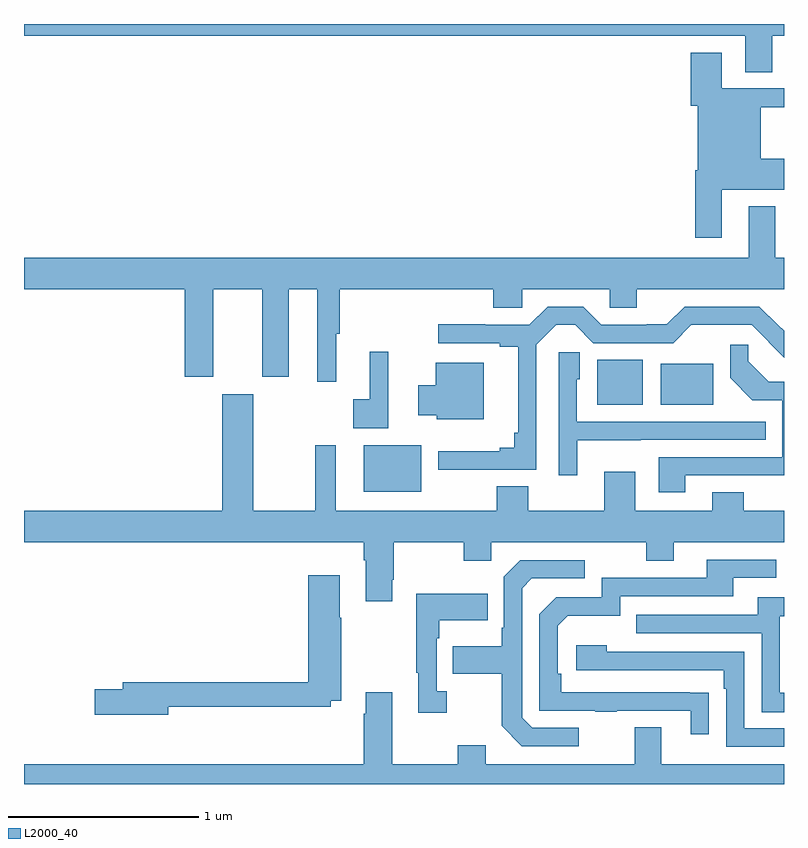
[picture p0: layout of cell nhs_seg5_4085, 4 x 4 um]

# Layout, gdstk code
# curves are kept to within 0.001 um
import gdstk
lib = gdstk.Library(unit=1e-6, precision=1e-09)
def R(c, l, rs):  # rectangles x0, y0, x1, y1
    for r in rs: c.add(gdstk.rectangle(r[:2], r[2:], *l))
def P(c, l, *ps):  # polygons
    for p in ps: c.add(gdstk.Polygon(p, *l))
L2000_40 = (2000, 40)

nhs_seg5_4085 = lib.new_cell('nhs_seg5_4085')
R(nhs_seg5_4085, L2000_40, [(352.787,878.336,353.092,878.581), (354.017,878.795,354.256,879.031), (354.35,878.795,354.628,879.01)])
P(nhs_seg5_4085, L2000_40, [(354.937,880.736),(355,880.736),(355,880.799),(351,880.799),(351,880.736),(354.797,880.736),(354.797,880.546),(354.937,880.546)],
  [(354.673,879.926),(355,879.926),(355,880.09),(354.877,880.09),(354.877,880.36),(355,880.36),(355,880.461),(354.673,880.461),(354.673,880.648),(354.509,880.648),(354.509,880.368),(354.545,880.368),(354.545,880.03),(354.533,880.03),(354.533,879.675),(354.673,879.675)],
  [(352.643,879.168),(352.661,879.168),(352.661,879.404),(353.471,879.404),(353.471,879.306),(353.622,879.306),(353.622,879.404),(354.084,879.404),(354.084,879.306),(354.226,879.306),(354.226,879.404),(355,879.404),(355,879.568),(354.955,879.568),(354.955,879.841),(354.815,879.841),(354.815,879.568),(351,879.568),(351,879.404),(351.845,879.404),(351.845,878.943),(351.997,878.943),(351.997,879.404),(352.253,879.404),(352.253,878.943),(352.393,878.943),(352.393,879.404),(352.544,879.404),(352.544,878.916),(352.643,878.916)],
  [(353.393,878.454),(353.697,878.454),(353.697,879.111),(353.801,879.215),(353.902,879.215),(353.997,879.12),(354.417,879.12),(354.512,879.215),(354.831,879.216),(354.921,879.126),(354.919,879.124),(355,879.043),(355,879.185),(354.968,879.217),(354.967,879.216),(354.871,879.312),(354.477,879.312),(354.383,879.218),(354.278,879.218),(354.278,879.216),(354.039,879.216),(353.943,879.312),(353.756,879.312),(353.66,879.216),(353.427,879.216),(353.427,879.218),(353.181,879.218),(353.181,879.12),(353.504,879.12),(353.504,879.1),(353.6,879.1),(353.6,878.647),(353.581,878.647),(353.581,878.57),(353.504,878.57),(353.504,878.551),(353.181,878.551),(353.181,878.453)],
  [(354.481,878.424),(355,878.423),(355,878.916),(354.92,878.916),(354.812,879.024),(354.812,879.112),(354.717,879.112),(354.717,878.936),(354.833,878.82),(354.99,878.82),(354.99,878.52),(354.341,878.52),(354.341,878.334),(354.481,878.334)],
  [(352.918,879.073),(352.82,879.073),(352.82,878.825),(352.734,878.825),(352.734,878.672),(352.918,878.672)],
  [(353.911,878.609),(354.245,878.609),(354.245,878.61),(354.905,878.61),(354.905,878.706),(353.91,878.706),(353.91,878.928),(353.926,878.928),(353.926,879.071),(353.814,879.071),(353.814,878.424),(353.911,878.424)],
  [(353.419,879.016),(353.168,879.016),(353.168,878.899),(353.075,878.899),(353.075,878.741),(353.172,878.741),(353.172,878.72),(353.419,878.72)],
  [(352.939,877.873),(352.947,877.873),(352.947,878.072),(353.314,878.072),(353.314,877.973),(353.46,877.973),(353.46,878.072),(354.274,878.072),(354.274,877.973),(354.421,877.973),(354.421,878.072),(355,878.072),(355,878.236),(354.787,878.236),(354.787,878.335),(354.623,878.335),(354.623,878.236),(354.217,878.236),(354.217,878.443),(354.053,878.443),(354.053,878.236),(353.653,878.236),(353.653,878.365),(353.489,878.365),(353.489,878.236),(352.642,878.236),(352.642,878.581),(352.533,878.581),(352.533,878.236),(352.207,878.236),(352.207,878.851),(352.043,878.851),(352.043,878.236),(351,878.236),(351,878.072),(352.787,878.072),(352.787,877.976),(352.799,877.976),(352.799,877.761),(352.939,877.761)],
  [(354.605,877.28),(353.828,877.281),(353.828,877.378),(353.808,877.378),(353.808,877.632),(353.861,877.685),(354.138,877.685),(354.138,877.788),(354.733,877.788),(354.733,877.884),(354.958,877.884),(354.958,877.98),(354.593,877.98),(354.593,877.884),(354.042,877.884),(354.042,877.782),(353.802,877.782),(353.712,877.692),(353.712,877.185),(354.007,877.185),(354.007,877.18),(354.119,877.18),(354.119,877.185),(354.509,877.185),(354.509,877.062),(354.605,877.062)],
  [(353.92,877.095),(353.676,877.095),(353.622,877.149),(353.622,877.83),(353.673,877.881),(353.95,877.881),(353.95,877.977),(353.613,877.977),(353.526,877.89),(353.526,877.621),(353.514,877.621),(353.514,877.525),(353.257,877.525),(353.257,877.378),(353.514,877.378),(353.514,877.105),(353.619,876.999),(353.92,876.999)],
  [(351.76,877.206),(352.614,877.206),(352.614,877.238),(352.671,877.238),(352.671,877.673),(352.663,877.673),(352.663,877.897),(352.496,877.897),(352.496,877.334),(351.521,877.334),(351.521,877.298),(351.372,877.298),(351.372,877.163),(351.76,877.163)],
  [(353.224,877.286),(353.172,877.286),(353.172,877.565),(353.185,877.565),(353.185,877.661),(353.441,877.661),(353.441,877.801),(353.064,877.801),(353.064,877.385),(353.075,877.385),(353.075,877.173),(353.224,877.173)],
  [(355,877.278),(354.978,877.278),(354.978,877.683),(355,877.683),(355,877.783),(354.863,877.783),(354.863,877.689),(354.223,877.689),(354.223,877.593),(354.882,877.593),(354.882,877.177),(355,877.177)],
  [(355,877.092),(354.792,877.092),(354.792,877.494),(354.068,877.494),(354.068,877.528),(353.907,877.528),(353.907,877.398),(354.683,877.398),(354.683,877.301),(354.696,877.301),(354.696,876.996),(355,876.996)],
  [(355,876.904),(354.355,876.904),(354.355,877.099),(354.215,877.099),(354.215,876.904),(353.431,876.904),(353.431,877.003),(353.284,877.003),(353.284,876.904),(352.939,876.904),(352.939,877.282),(352.799,877.282),(352.799,877.169),(352.787,877.169),(352.787,876.904),(351,876.904),(351,876.799),(355,876.799)])

lib.write_gds('nhs_seg5_4085.gds')
